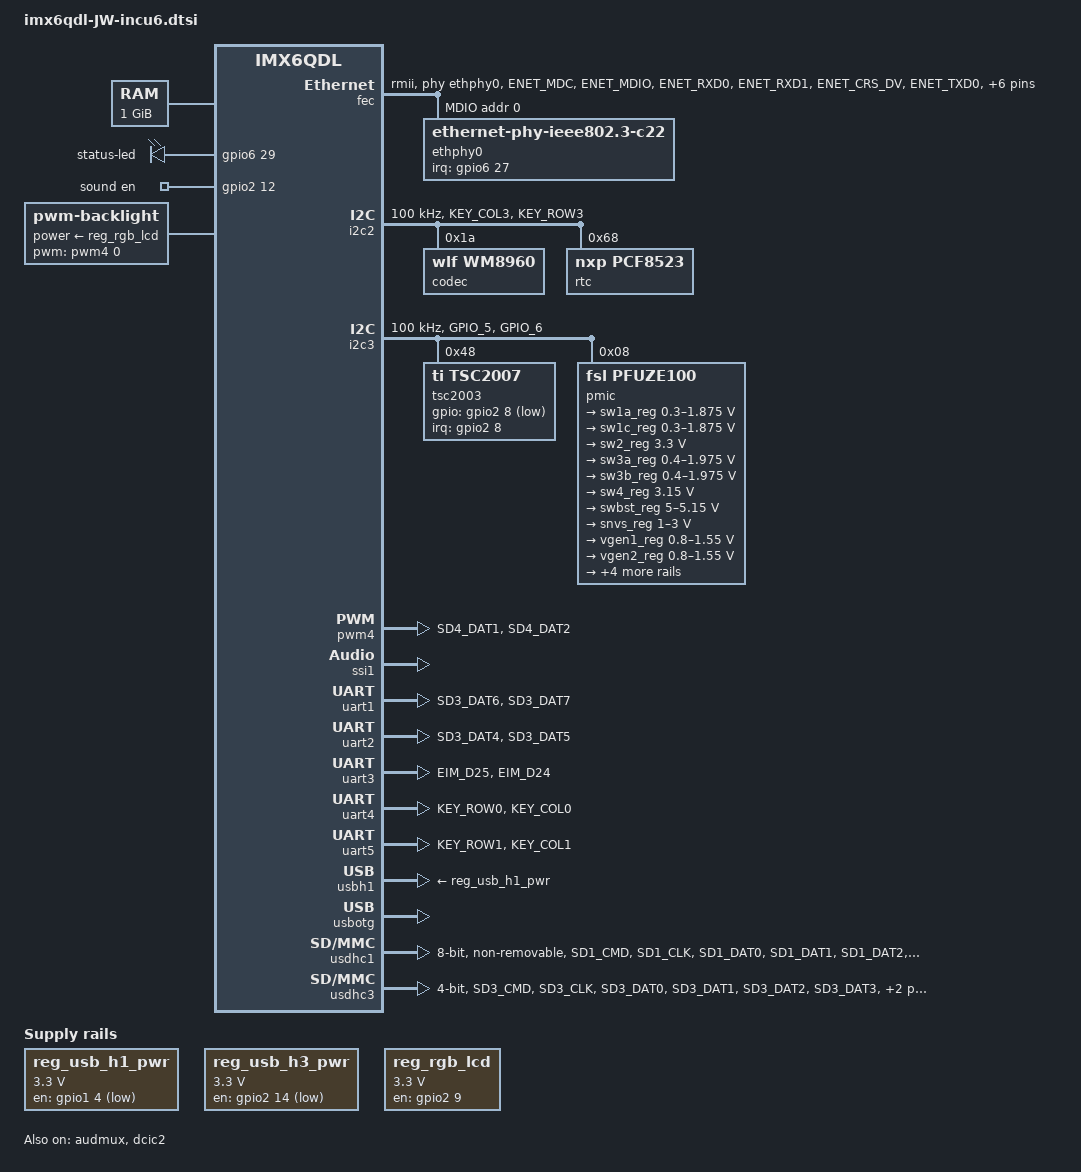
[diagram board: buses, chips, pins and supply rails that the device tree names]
// SPDX-License-Identifier: GPL-2.0+
//
// Copyright 2012 Freescale Semiconductor, Inc.
// Copyright 2011 Linaro Ltd.

#include <dt-bindings/clock/imx6qdl-clock.h>
#include <dt-bindings/gpio/gpio.h>
#include <dt-bindings/input/input.h>
#include <dt-bindings/sound/fsl-imx-audmux.h>

/ {
	device_tree_ver = "v0.0.6";

	aliases {
		mxcfb0 = &mxcfb1;
		mxcfb1 = &mxcfb2;
	};

	chosen {
		stdout-path = &uart1;
	};

	memory: memory@10000000 {
		reg = <0x10000000 0x40000000>;
	};

	regulators {
		compatible = "simple-bus";
		#address-cells = <1>;
		#size-cells = <0>;


		reg_usb_h1_pwr: regulator@0 {
			compatible = "regulator-fixed";
			reg = <0>;
			regulator-name = "usb_h1_vbus";
			regulator-min-microvolt = <3300000>;
			regulator-max-microvolt = <3300000>;
			gpio = <&gpio1 4 0>;
			enable-active-low;
            regulator-always-on;
		};

		reg_usb_h3_pwr: regulator@1 {
			compatible = "regulator-fixed";
			reg = <1>;
			regulator-name = "usb_h3_vbus";
			regulator-min-microvolt = <3300000>;
			regulator-max-microvolt = <3300000>;
			gpio = <&gpio2 14 0>;
			enable-active-low;
            regulator-always-on;
		};

		reg_rgb_lcd: regulator-rgb-lcd {
			compatible = "regulator-fixed";
			regulator-name = "lcd-rgb-power";
			regulator-min-microvolt = <3300000>;
			regulator-max-microvolt = <3300000>;
			gpio = <&gpio2 9 GPIO_ACTIVE_HIGH>;
			enable-active-high;
		};
	};

	leds {
		compatible = "gpio-leds";
		status-led {
			label = "status-led";
			gpios = <&gpio6 29 0>;
			linux,default-trigger = "heartbeat";
		};
	};

	gpio_jw {
		compatible = "gpio_jw";
		pinctrl-names = "default";
		pinctrl-0 = <&pinctrl_gpio_jw>;
	};

	sound: sound {
		compatible = "fsl,imx-hybus-wm8960";
		//compatible = "fsl,imx-audio-wm8960";
		model = "wm8960-audio";
		cpu-dai = <&ssi1>;
		ssi-controller = <&ssi1>;
		audio-codec = <&codec>;
		asrc-controller = <&asrc>;
		codec-master;
		//gpr = <&gpr 4 0x100000 0x100000>;
		/*
		 * hp-det = <hp-det-pin hp-det-polarity>;
		 * hp-det-pin: JD1 JD2  or JD3
		 * hp-det-polarity = 0: hp detect high for headphone
		 * hp-det-polarity = 1: hp detect high for speaker
		 */
		//hp-det = <3 0>;
		//hp-det-gpios = <&gpio5 4 0>;
		//mic-det-gpios = <&gpio5 4 0>;
		en-gpios = <&gpio2 12 0>;
		audio-routing =
			"Headphone Jack", "HP_L",
			"Headphone Jack", "HP_R",
			/*
			"Ext Spk", "SPK_LP",
			"Ext Spk", "SPK_LN",
			"Ext Spk", "SPK_RP",
			"Ext Spk", "SPK_RN",
			"LINPUT2", "Mic Jack",
			"LINPUT3", "Mic Jack",
			"RINPUT1", "Main MIC",
			"RINPUT2", "Main MIC",
			"Mic Jack", "MICB",
			"Main MIC", "MICB",
			*/
			"CPU-Playback", "ASRC-Playback",
			"Playback", "CPU-Playback",
			"ASRC-Capture", "CPU-Capture",
			"CPU-Capture", "Capture";
		mux-int-port = <1>;
		mux-ext-port = <4>;
	};

	mxcfb1: fb@0 {
		compatible = "fsl,mxc_sdc_fb";
        interface_pix_fmt = "RGB24";
		default_bpp = <32>;
		int_clk = <0>;
		late_init = <0>;
        status = "disabled";
	};

	mxcfb2: fb@1 {
        compatible = "fsl,mxc_sdc_fb";
        interface_pix_fmt = "RGB666";
        //interface_pix_fmt = "RGB24";
		disp_dev = "ldb";
        default_bpp = <32>;
        int_clk = <0>;
        late_init = <0>;
        status = "disabled";
    };

	lcd: lcd@0 {
		compatible = "fsl,lcd";
		ipu_id = <0>;
		disp_id = <0>;
		default_ifmt = "RGB24";
		pinctrl-names = "default";
		pinctrl-0 = <&pinctrl_ipu1>;
	};

	backlight {
		compatible = "pwm-backlight";
		pwms = <&pwm4 0 10000000>;
		power-supply = <&reg_rgb_lcd>;
		brightness-levels = <0 4 8 16 32 64 128 255>;
		default-brightness-level = <7>;
		status = "okay";
	};
};


&audmux {
	pinctrl-names = "default";
	pinctrl-0 = <&pinctrl_audmux>;
	status = "okay";
};

&clks {
	assigned-clocks = <&clks IMX6QDL_CLK_LDB_DI0_SEL>,
			  <&clks IMX6QDL_CLK_LDB_DI1_SEL>;
	assigned-clock-parents = <&clks IMX6QDL_CLK_PLL2_PFD0_352M>,
				 <&clks IMX6QDL_CLK_PLL2_PFD0_352M>;
};

&fec {
	pinctrl-names = "default";
	pinctrl-0 = <&pinctrl_enet>;
	phy-mode = "rmii";
	phy-reset-gpios = <&gpio6 28 GPIO_ACTIVE_LOW>;
	fsl,magic-packet;

	phy-reset-duration = <100>;
	phy-reset-post-delay = <10>;
	ref-clock = <50000000>;
	status = "okay";
	phy-handle = <&ethphy0>;

	mdio {
		#address-cells = <1>;
		#size-cells = <0>;
		status = "okay";

		ethphy0: ethernet-phy@0 {

			compatible = "ethernet-phy-ieee802.3-c22";
			reg = <0>;
			interrupt-parent = <&gpio6>;
			interrupts = <27 IRQ_TYPE_EDGE_FALLING>;
			//interrupt-controller;
			//#interrupt-cells = <2>;
			smsc,disable-energy-detect;
		};
	};
};

&gpc {
	fsl,ldo-bypass = <0>;
};

&dcic2 {
	dcic_id = <1>;
	dcic_mux = "dcic-lvds1";
	status = "okay";
};

&i2c2 {
	clock-frequency = <100000>;
	pinctrl-names = "default";
	pinctrl-0 = <&pinctrl_i2c2>;
	status = "okay";

	/* Codec & ADC */
	codec: wm8960@1a {
		#sound-dai-cells = <0>;
		compatible = "wlf,wm8960";
		reg = <0x1a>;
		clocks = <&clks IMX6QDL_CLK_CKO>;
		clock-names = "mclk";
		//clock-frequency = <12000000>;
		wlf,shared-lrclk;
		status = "okay";
	};

	rtc: pcf8523@68 {
		compatible = "nxp,pcf8523";
		reg = <0x68>;
		status = "okay";
	};
};

&i2c3 {
	clock-frequency = <100000>;
	pinctrl-names = "default";
	pinctrl-0 = <&pinctrl_i2c3>;
	status = "okay";

	/* TSP & PMIC */

	/* touchscreen */
	tsc2003@48 {
		compatible = "ti,tsc2007";
		reg = <0x48>;
		pinctrl-names = "default";
		pinctrl-0 = <&pinctrl_i2c3_tsc_int>;
		interrupt-parent = <&gpio2>;
		interrupts = <8 IRQ_TYPE_EDGE_FALLING>; /* TSP_nINT */
		gpios = <&gpio2 8 GPIO_ACTIVE_LOW>;
		ti,x-plate-ohms = <400>;
		status = "okay";
	};

	pmic: pfuze100@8 {
		compatible = "fsl,pfuze100";
		reg = <0x8>;
		pinctrl-names = "default";
		pinctrl-0 = <&pinctrl_i2c3_pmic_int>;
		regulators {
			//VDD Core
			sw1a_reg: sw1ab {
				regulator-min-microvolt = <300000>;
				regulator-max-microvolt = <1875000>;
				regulator-boot-on;
				regulator-always-on;
				regulator-ramp-delay = <6250>;
			};

			//VDD SoC 
			sw1c_reg: sw1c {
				regulator-min-microvolt = <300000>;
				regulator-max-microvolt = <1875000>;
				regulator-boot-on;
				regulator-always-on;
				regulator-ramp-delay = <6250>;
			};
			
			//VDDIO 3.3V
			sw2_reg: sw2 {
				regulator-min-microvolt = <3300000>;
				regulator-max-microvolt = <3300000>;
				regulator-boot-on;
				regulator-always-on;
				regulator-ramp-delay = <6250>;
			};

			//VDD DRAM
			sw3a_reg: sw3a {
				regulator-min-microvolt = <400000>;
				regulator-max-microvolt = <1975000>;
				regulator-boot-on;
				regulator-always-on;
			};

			//VDD DRAM
			sw3b_reg: sw3b {
				regulator-min-microvolt = <400000>;
				regulator-max-microvolt = <1975000>;
				regulator-boot-on;
				regulator-always-on;
			};

			//VDD AUX 3.15V
			sw4_reg: sw4 {
				regulator-min-microvolt = <3150000>;
				regulator-max-microvolt = <3150000>;
				regulator-boot-on;
				regulator-always-on;
			};

			swbst_reg: swbst {
				regulator-min-microvolt = <5000000>;
				regulator-max-microvolt = <5150000>;
			};

			snvs_reg: vsnvs {
				regulator-min-microvolt = <1000000>;
				regulator-max-microvolt = <3000000>;
				regulator-boot-on;
				regulator-always-on;
			};

			vref_reg: vrefddr {
				regulator-boot-on;
				regulator-always-on;
			};

			/* None of Tree in Schematics */
			vgen1_reg: vgen1 {
				regulator-min-microvolt = <800000>;
				regulator-max-microvolt = <1550000>;
			};

			/* None of Tree in Schematics */
			vgen2_reg: vgen2 {
				regulator-min-microvolt = <800000>;
				regulator-max-microvolt = <1550000>;
			};

			/* Gen3 -> RGMII, MIPI, LVDS_25V */
			vgen3_reg: vgen3 {
				regulator-min-microvolt = <2500000>;
				regulator-max-microvolt = <2500000>;
				regulator-boot-on;
				regulator-always-on;
			};

			/* Gen4 -> CSI */
			vgen4_reg: vgen4 {
				regulator-min-microvolt = <1800000>;
				regulator-max-microvolt = <1800000>;
			};

			/* Gen5 -> VDD_HIGI_IN */
			vgen5_reg: vgen5 {
				regulator-min-microvolt = <2800000>;
				regulator-max-microvolt = <2800000>;
				regulator-boot-on;
				regulator-always-on;
			};

			/* None of Tree in Schematics */
			vgen6_reg: vgen6 {
				regulator-min-microvolt = <3300000>;
				regulator-max-microvolt = <3300000>;
			};
		};
	};
};


&iomuxc {
	pinctrl-names = "default";
	pinctrl-0 = <&pinctrl_hog>;

	imx6qdl-jw-incu6 {
		pinctrl_hog: hoggrp {
			fsl,pins = <
				/* LCD Driver Enable */
				//MX6QDL_PAD_SD4_DAT1__GPIO2_IO09		0x1a0b1
				/* Status LED */
				MX6QDL_PAD_RGMII_RD3__GPIO6_IO29	0x1b0b1
				/* USBH1 PWR */
				MX6QDL_PAD_GPIO_4__GPIO1_IO04	0x1b0b1
				/* TODO USBH1 OVC */
				MX6QDL_PAD_GPIO_3__GPIO1_IO03	0x1b0b1
				/* USBH3 PWR */
				MX6QDL_PAD_SD4_DAT6__GPIO2_IO14 0x1b0b1
				/* TODO USBH3 OVC */
				MX6QDL_PAD_SD4_DAT7__GPIO2_IO15 0x1b0b1
				/* CDS GPIO */
				MX6QDL_PAD_KEY_COL2__GPIO4_IO10 0x30b0
				/* SPK_PWR_EN */
				/* Audio_AMP_CTL */
				MX6QDL_PAD_SD4_DAT4__GPIO2_IO12 	0x1b0b1
				/* RTC_nINT1 */
				MX6QDL_PAD_SD4_DAT5__GPIO2_IO13 	0x1b0b1
				/* LED_CTL 1-3*/
				MX6QDL_PAD_KEY_COL4__GPIO4_IO14		0x1b0b0
				MX6QDL_PAD_KEY_ROW4__GPIO4_IO15		0x1b0b0
				MX6QDL_PAD_DI0_PIN4__GPIO4_IO20		0x1b0b0
				/* BT_Check */
				MX6QDL_PAD_NANDF_CS2__GPIO6_IO15	0x1b0b0

				/* GPIO_V33_In 0-3 */
				MX6QDL_PAD_CSI0_DATA_EN__GPIO5_IO20	0x1b0b0
				MX6QDL_PAD_CSI0_VSYNC__GPIO5_IO21	0x1b0b0
				MX6QDL_PAD_CSI0_DAT4__GPIO5_IO22	0x1b0b0
				MX6QDL_PAD_CSI0_DAT5__GPIO5_IO23	0x1b0b0
				/* GPIO_V33_Out 0-3 */
				MX6QDL_PAD_CSI0_DAT6__GPIO5_IO24	0x30b0
				MX6QDL_PAD_CSI0_DAT7__GPIO5_IO25	0x30b0			
				MX6QDL_PAD_CSI0_DAT8__GPIO5_IO26	0x30b0
				MX6QDL_PAD_CSI0_DAT9__GPIO5_IO27	0x30b0
				/* GPIO_V50_Out_CTL */
				MX6QDL_PAD_SD3_RST__GPIO7_IO08		0x1b0b1
				/* GPIO_V50_In_CTL */
				MX6QDL_PAD_GPIO_17__GPIO7_IO12		0x1b0b1
				/* GPIO_V50_In 0-3*/
				MX6QDL_PAD_CSI0_DAT14__GPIO6_IO00	0x1b0b0
				MX6QDL_PAD_CSI0_DAT15__GPIO6_IO01	0x1b0b0
				MX6QDL_PAD_CSI0_DAT16__GPIO6_IO02	0x1b0b0
				MX6QDL_PAD_CSI0_DAT17__GPIO6_IO03	0x1b0b0
				/* GPIO_V50_Out 0-3 */
				MX6QDL_PAD_EIM_D16__GPIO3_IO16		0x30b0
				MX6QDL_PAD_EIM_D17__GPIO3_IO17		0x30b0
				MX6QDL_PAD_EIM_D18__GPIO3_IO18		0x30b0
				MX6QDL_PAD_EIM_D19__GPIO3_IO19		0x30b0
				MX6QDL_PAD_EIM_D20__GPIO3_IO20		0x30b0
			>;
		};

		pinctrl_audmux: audmuxgrp {
			fsl,pins = <
				MX6QDL_PAD_SD2_DAT3__AUD4_TXC        0x130b0
				MX6QDL_PAD_SD2_DAT2__AUD4_TXD        0x130b0
                MX6QDL_PAD_SD2_DAT1__AUD4_TXFS       0x130b0
                //MX6QDL_PAD_SD2_DAT0__AUD4_RXD        0x130b0
           		MX6QDL_PAD_GPIO_0__CCM_CLKO1         0x030b0
			>;
		};

		pinctrl_i2c3_tsc_int: tsc2003_i2c3_intgrp {
			fsl,pins = <
				/* TSP_nINT */
				MX6QDL_PAD_SD4_DAT0__GPIO2_IO08 	0x1b0b1
			>;
		};

		pinctrl_i2c3_pmic_int: pimc_i2c3_intgrp {
			fsl,pins = <
				/* PMIC_nINT */
				MX6QDL_PAD_GPIO_18__GPIO7_IO13	0x80000000
			>;
		};

		pinctrl_enet: enetgrp {
			fsl,pins = <
				MX6QDL_PAD_ENET_MDC__ENET_MDC           0x10030
		        MX6QDL_PAD_ENET_MDIO__ENET_MDIO         0x10030
           		MX6QDL_PAD_ENET_RXD0__ENET_RX_DATA0     0x10038
		        MX6QDL_PAD_ENET_RXD1__ENET_RX_DATA1     0x10038
    	        MX6QDL_PAD_ENET_CRS_DV__ENET_RX_EN      0x10038
		        MX6QDL_PAD_ENET_TXD0__ENET_TX_DATA0     0x10039
       			MX6QDL_PAD_ENET_TXD1__ENET_TX_DATA1     0x10039
           		MX6QDL_PAD_ENET_TX_EN__ENET_TX_EN       0x10039
				MX6QDL_PAD_GPIO_16__ENET_REF_CLK		0x4001b0b8
				//MX6QDL_PAD_ENET_RX_ER__ENET_RX_ER	0x100b0

				/* LAN8720 PHY nINT */
				MX6QDL_PAD_RGMII_RD1__GPIO6_IO27		0x1b0b9

				/* LAN8720 PHY Reset */
       			MX6QDL_PAD_RGMII_RD2__GPIO6_IO28		0x1b0b9

			>;
		};

		pinctrl_gpio_jw: gpio_jwgrp {
			fsl,pins = <
			>;
		};

		pinctrl_i2c2: i2c2grp {
			fsl,pins = <
				MX6QDL_PAD_KEY_COL3__I2C2_SCL		0x4001b8b1
				MX6QDL_PAD_KEY_ROW3__I2C2_SDA		0x4001b8b1
			>;
		};

		pinctrl_i2c3: i2c3grp {
			fsl,pins = <
				MX6QDL_PAD_GPIO_5__I2C3_SCL		0x4001b8b9
				MX6QDL_PAD_GPIO_6__I2C3_SDA		0x4001b8b9
			>;
		};

		pinctrl_ipu1: ipu1grp {
			fsl,pins = <
				MX6QDL_PAD_DI0_DISP_CLK__IPU1_DI0_DISP_CLK 0x10
				MX6QDL_PAD_DI0_PIN15__IPU1_DI0_PIN15       0x10
				MX6QDL_PAD_DI0_PIN2__IPU1_DI0_PIN02        0x10
				MX6QDL_PAD_DI0_PIN3__IPU1_DI0_PIN03        0x10

				MX6QDL_PAD_DISP0_DAT0__IPU1_DISP0_DATA00   0x10
				MX6QDL_PAD_DISP0_DAT1__IPU1_DISP0_DATA01   0x10
				MX6QDL_PAD_DISP0_DAT2__IPU1_DISP0_DATA02   0x10
				MX6QDL_PAD_DISP0_DAT3__IPU1_DISP0_DATA03   0x10
				MX6QDL_PAD_DISP0_DAT4__IPU1_DISP0_DATA04   0x10
				MX6QDL_PAD_DISP0_DAT5__IPU1_DISP0_DATA05   0x10
				MX6QDL_PAD_DISP0_DAT6__IPU1_DISP0_DATA06   0x10
				MX6QDL_PAD_DISP0_DAT7__IPU1_DISP0_DATA07   0x10
				MX6QDL_PAD_DISP0_DAT8__IPU1_DISP0_DATA08   0x10
				MX6QDL_PAD_DISP0_DAT9__IPU1_DISP0_DATA09   0x10
				MX6QDL_PAD_DISP0_DAT10__IPU1_DISP0_DATA10  0x10
				MX6QDL_PAD_DISP0_DAT11__IPU1_DISP0_DATA11  0x10
				MX6QDL_PAD_DISP0_DAT12__IPU1_DISP0_DATA12  0x10
				MX6QDL_PAD_DISP0_DAT13__IPU1_DISP0_DATA13  0x10
				MX6QDL_PAD_DISP0_DAT14__IPU1_DISP0_DATA14  0x10
				MX6QDL_PAD_DISP0_DAT15__IPU1_DISP0_DATA15  0x10
				MX6QDL_PAD_DISP0_DAT16__IPU1_DISP0_DATA16  0x10
				MX6QDL_PAD_DISP0_DAT17__IPU1_DISP0_DATA17  0x10
				MX6QDL_PAD_DISP0_DAT18__IPU1_DISP0_DATA18  0x10
				MX6QDL_PAD_DISP0_DAT19__IPU1_DISP0_DATA19  0x10
				MX6QDL_PAD_DISP0_DAT20__IPU1_DISP0_DATA20  0x10
				MX6QDL_PAD_DISP0_DAT21__IPU1_DISP0_DATA21  0x10
				MX6QDL_PAD_DISP0_DAT22__IPU1_DISP0_DATA22  0x10
				MX6QDL_PAD_DISP0_DAT23__IPU1_DISP0_DATA23  0x10
			>;
		};

		pinctrl_pwm3: pwm3grp {
			fsl,pins = <
				/*MX6QDL_PAD_SD1_DAT3__PWM1_OUT		0x1b0b1*/
				MX6QDL_PAD_SD4_DAT1__PWM3_OUT		0x1a0b1
				MX6QDL_PAD_SD4_DAT2__GPIO2_IO10		0x1a0b1
			>;
		};

		pinctrl_pwm4: pwm4grp {
			fsl,pins = <
				/*MX6QDL_PAD_SD1_DAT3__PWM1_OUT		0x1b0b1*/
				MX6QDL_PAD_SD4_DAT1__GPIO2_IO09		0x1a0b1
				MX6QDL_PAD_SD4_DAT2__PWM4_OUT		0x1a0b1
			>;
		};

		pinctrl_uart1: uart1grp {
			fsl,pins = <
				MX6QDL_PAD_SD3_DAT6__UART1_RX_DATA	0x1b0b1
				MX6QDL_PAD_SD3_DAT7__UART1_TX_DATA	0x1b0b1
			>;
		};

		pinctrl_uart2: uart2grp {
			fsl,pins = <
                MX6QDL_PAD_SD3_DAT4__UART2_RX_DATA	0x1b0b1
                MX6QDL_PAD_SD3_DAT5__UART2_TX_DATA	0x1b0b1
			>;
		};

		pinctrl_uart3: uart3grp {
			fsl,pins = <
				MX6QDL_PAD_EIM_D25__UART3_RX_DATA	0x1b0b1
                MX6QDL_PAD_EIM_D24__UART3_TX_DATA	0x1b0b1
			>;
		};

		pinctrl_uart4: uart4grp {
			fsl,pins = <
				MX6QDL_PAD_KEY_ROW0__UART4_RX_DATA	0x1b0b1
		    	MX6QDL_PAD_KEY_COL0__UART4_TX_DATA	0x1b0b1
			>;
		};

		pinctrl_uart5: uart5grp {
			fsl,pins = <
				MX6QDL_PAD_KEY_ROW1__UART5_RX_DATA	0x1b0b1
				MX6QDL_PAD_KEY_COL1__UART5_TX_DATA	0x1b0b1
			>;
		};

		pinctrl_usdhc1: usdhc1grp {
			fsl,pins = <
				MX6QDL_PAD_SD1_CMD__SD1_CMD		0x17059
				MX6QDL_PAD_SD1_CLK__SD1_CLK		0x10059
				MX6QDL_PAD_SD1_DAT0__SD1_DATA0		0x17059
				MX6QDL_PAD_SD1_DAT1__SD1_DATA1		0x17059
				MX6QDL_PAD_SD1_DAT2__SD1_DATA2		0x17059
				MX6QDL_PAD_SD1_DAT3__SD1_DATA3		0x17059
				MX6QDL_PAD_NANDF_D0__SD1_DATA4		0x17059
				MX6QDL_PAD_NANDF_D1__SD1_DATA5		0x17059
				MX6QDL_PAD_NANDF_D2__SD1_DATA6		0x17059
				MX6QDL_PAD_NANDF_D3__SD1_DATA7		0x17059
			>;
		};

		pinctrl_usdhc3: usdhc3grp {
			fsl,pins = <
				MX6QDL_PAD_SD3_CMD__SD3_CMD		0x17059
				MX6QDL_PAD_SD3_CLK__SD3_CLK		0x10059
				MX6QDL_PAD_SD3_DAT0__SD3_DATA0		0x17059
				MX6QDL_PAD_SD3_DAT1__SD3_DATA1		0x17059
				MX6QDL_PAD_SD3_DAT2__SD3_DATA2		0x17059
				MX6QDL_PAD_SD3_DAT3__SD3_DATA3		0x17059
				/* SD3 Detect PIN */
				MX6QDL_PAD_RGMII_RD0__GPIO6_IO25	0x1b0b1
			>;
		};
	};

};

&ldb {
	status = "disabled";
	/* LVDS Dual Channel Configure  -> If You Need, Activate Mode*/
	//split-mode;
	//dual-mode;
	lvds-channel@0 {
		fsl,data-mapping = "spwg";
		fsl,data-width = <18>;
		status = "disabled";

		display-timings {
			native-mode = <&timing0>;
			timing0: EH1010SV-60B {
				clock-frequency = <51200000>;
				hactive = <1024>;
				vactive = <600>;
				hback-porch = <160>;
				hfront-porch = <160>;
				vback-porch = <23>;
				vfront-porch = <10>;
				hsync-len = <24>;
				vsync-len = <2>;
			};
		};
	};
	lvds-channel@1 {
		crtc = "ipu2-di1";
		primary;
		fsl,data-mapping = "spwg";
		//fsl,data-width = <24>;
		fsl,data-width = <18>;
		/* Single Channel Uses LVDS1 Channels */
		status = "disabled";
		display-timings {
			native-mode = <&timing1>;
			timing1: EH1010SV-60B {
				clock-frequency = <51200000>;
				hactive = <1024>;
				vactive = <600>;
				hback-porch = <160>;
				hfront-porch = <160>;
				vback-porch = <23>;
				vfront-porch = <10>;
				hsync-len = <24>;
				vsync-len = <2>;
			};
		};
	};
};

&pwm3 {
	pinctrl-names = "default";
	pinctrl-0 = <&pinctrl_pwm3>;
	status = "disabled";
};

&pwm4 {
	pinctrl-names = "default";
	pinctrl-0 = <&pinctrl_pwm4>;
	status = "okay";
};

&reg_arm {
       vin-supply = <&sw1a_reg>;
};

&reg_pu {
       vin-supply = <&sw1c_reg>;
};

&reg_soc {
       vin-supply = <&sw1c_reg>;
};

&snvs_poweroff {
	status = "okay";
};

&ssi1 {
	status = "okay";
};

&ssi2 {
	status = "disabled";
};

&uart1 {
	pinctrl-names = "default";
	pinctrl-0 = <&pinctrl_uart1>;
	status = "okay";
};

&uart2 {
	pinctrl-names = "default";
	pinctrl-0 = <&pinctrl_uart2>;
	status = "okay";
};

&uart3 {
        pinctrl-names = "default";
        pinctrl-0 = <&pinctrl_uart3>;
        status = "okay";
};

&uart4 {
        pinctrl-names = "default";
        pinctrl-0 = <&pinctrl_uart4>;
        status = "okay";
};

&uart5 {
        pinctrl-names = "default";
        pinctrl-0 = <&pinctrl_uart5>;
        status = "okay";
};

&usbh1 {
	pinctrl-names = "default";
	vbus-supply = <&reg_usb_h1_pwr>;
	status = "okay";
};

&usbotg {
	disable-over-current;
	srp-disable;
	hnp-disable;
	adp-disable;
	status = "okay";
};

&usdhc1 {
	pinctrl-names = "default";
	pinctrl-0 = <&pinctrl_usdhc1>;
	bus-width = <8>;
	vqmmc-1-8-v = <1>;
	non-removable;
	keep-power-in-suspend;
	enable-sdio-wakeup;
	status = "okay";
};

&usdhc3 {
	pinctrl-names = "default";
	pinctrl-0 = <&pinctrl_usdhc3>;
	bus-width = <4>;
	cd-gpios = <&gpio6 25 GPIO_ACTIVE_LOW>;
	no-1-8-v;
	keep-power-in-suspend;
	enable-sdio-wakeup;
	status = "okay";
};
